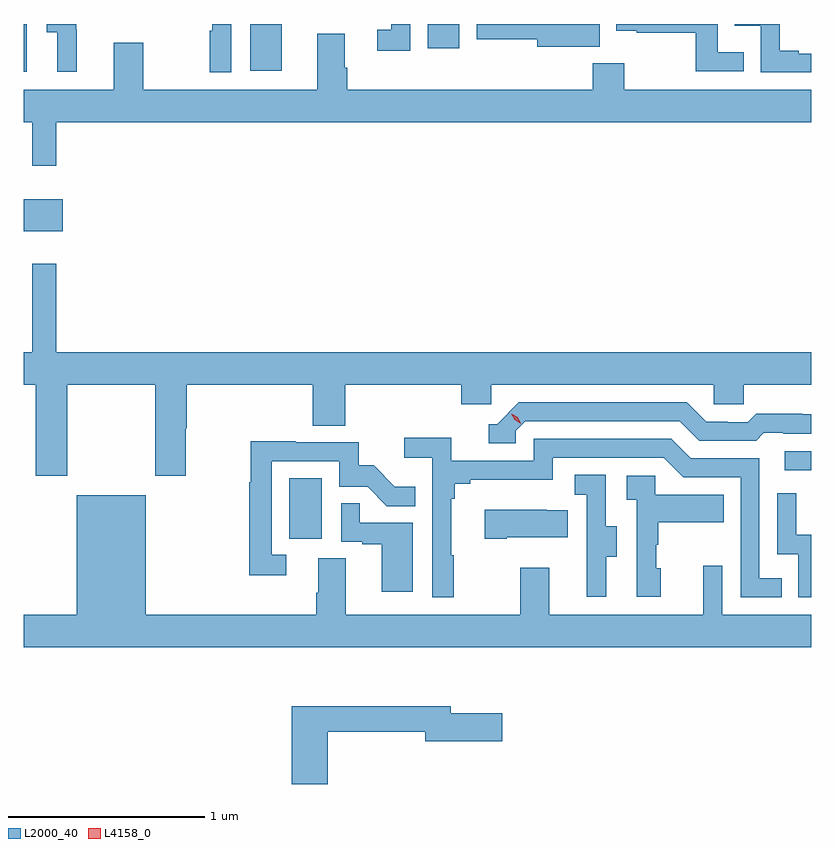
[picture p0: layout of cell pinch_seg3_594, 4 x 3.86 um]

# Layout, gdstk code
import gdstk
lib = gdstk.Library(unit=1e-6, precision=1e-09)
def R(c, l, rs):  # rectangles x0, y0, x1, y1
    for r in rs: c.add(gdstk.rectangle(r[:2], r[2:], *l))
def P(c, l, *ps):  # polygons
    for p in ps: c.add(gdstk.Polygon(p, *l))
L2000_40 = (2000, 40)
L4158_0 = (4158, 0)

pinch_seg3_594 = lib.new_cell('pinch_seg3_594')
R(pinch_seg3_594, L2000_40, [(1071.08,694.806,1071.244,695.113), (1073.595,695.154,1073.73,695.25), (1069.73,696.368,1069.93,696.529), (1069.73,697.176,1069.746,697.419), (1070.882,697.182,1071.04,697.419), (1071.782,697.296,1071.943,697.419)])
P(pinch_seg3_594, L2000_40, [(1071.693,697.419),(1071.597,697.419),(1071.597,697.389),(1071.525,697.389),(1071.525,697.284),(1071.693,697.284)],
  [(1070.784,697.419),(1070.687,697.419),(1070.687,697.385),(1070.676,697.385),(1070.676,697.173),(1070.784,697.173)],
  [(1070,697.389),(1069.998,697.389),(1069.998,697.419),(1069.847,697.419),(1069.847,697.378),(1069.901,697.378),(1069.901,697.176),(1070,697.176)],
  [(1073.387,697.276),(1073.253,697.276),(1073.253,697.419),(1072.74,697.419),(1072.74,697.385),(1072.843,697.385),(1072.843,697.374),(1073.142,697.374),(1073.142,697.179),(1073.387,697.179)],
  [(1073.73,697.269),(1073.665,697.269),(1073.665,697.282),(1073.569,697.282),(1073.569,697.419),(1073.34,697.419),(1073.34,697.409),(1073.472,697.409),(1073.472,697.173),(1073.73,697.173)],
  [(1072.655,697.419),(1072.032,697.419),(1072.032,697.342),(1072.337,697.342),(1072.337,697.304),(1072.655,697.304)],
  [(1069.897,696.92),(1073.73,696.92),(1073.73,697.084),(1072.779,697.084),(1072.779,697.219),(1072.619,697.219),(1072.619,697.084),(1071.374,697.084),(1071.374,697.196),(1071.361,697.196),(1071.361,697.37),(1071.221,697.37),(1071.221,697.084),(1070.337,697.084),(1070.337,697.324),(1070.189,697.324),(1070.189,697.084),(1069.73,697.084),(1069.73,696.92),(1069.775,696.92),(1069.775,696.699),(1069.897,696.699)],
  [(1069.953,695.588),(1070.398,695.588),(1070.398,695.127),(1070.553,695.127),(1070.553,695.366),(1070.558,695.366),(1070.558,695.588),(1071.197,695.588),(1071.197,695.38),(1071.362,695.38),(1071.362,695.588),(1071.953,695.588),(1071.953,695.49),(1072.104,695.49),(1072.104,695.588),(1073.235,695.588),(1073.235,695.49),(1073.385,695.49),(1073.385,695.588),(1073.73,695.588),(1073.73,695.752),(1069.897,695.752),(1069.897,696.202),(1069.775,696.202),(1069.775,695.752),(1069.73,695.752),(1069.73,695.588),(1069.793,695.588),(1069.793,695.127),(1069.953,695.127)],
  [(1072.23,695.355),(1072.278,695.403),(1073.061,695.403),(1073.16,695.304),(1073.449,695.304),(1073.488,695.343),(1073.587,695.343),(1073.587,695.34),(1073.73,695.34),(1073.73,695.437),(1073.682,695.437),(1073.682,695.44),(1073.449,695.44),(1073.407,695.397),(1073.304,695.397),(1073.304,695.4),(1073.197,695.4),(1073.098,695.499),(1072.245,695.499),(1072.134,695.388),(1072.091,695.388),(1072.091,695.292),(1072.23,695.292)],
  [(1071.913,694.721),(1071.901,694.721),(1071.901,695.009),(1071.92,695.009),(1071.92,695.086),(1071.997,695.086),(1071.997,695.105),(1072.416,695.105),(1072.416,695.217),(1072.98,695.217),(1073.079,695.118),(1073.37,695.118),(1073.37,694.509),(1073.579,694.509),(1073.579,694.605),(1073.466,694.605),(1073.466,695.214),(1073.116,695.214),(1073.017,695.313),(1072.32,695.313),(1072.32,695.202),(1071.902,695.202),(1071.902,695.318),(1071.663,695.318),(1071.663,695.216),(1071.804,695.216),(1071.804,694.509),(1071.913,694.509)],
  [(1071.064,694.725),(1070.991,694.725),(1070.991,695.199),(1071.333,695.199),(1071.333,695.07),(1071.477,695.07),(1071.575,694.972),(1071.719,694.972),(1071.719,695.071),(1071.615,695.071),(1071.508,695.178),(1071.432,695.178),(1071.432,695.295),(1071.113,695.295),(1071.113,695.3),(1070.883,695.3),(1070.883,695.092),(1070.875,695.092),(1070.875,694.62),(1071.064,694.62)],
  [(1072.687,694.714),(1072.741,694.714),(1072.741,694.869),(1072.686,694.869),(1072.686,695.132),(1072.527,695.132),(1072.527,695.029),(1072.59,695.029),(1072.59,694.725),(1072.589,694.725),(1072.589,694.512),(1072.687,694.512)],
  [(1072.966,694.656),(1072.941,694.656),(1072.941,694.775),(1072.951,694.775),(1072.951,694.889),(1073.285,694.889),(1073.285,695.029),(1072.938,695.029),(1072.938,695.127),(1072.791,695.127),(1072.791,695.003),(1072.842,695.003),(1072.842,694.512),(1072.966,694.512)],
  [(1073.73,694.826),(1073.652,694.826),(1073.652,695.038),(1073.556,695.038),(1073.556,694.728),(1073.664,694.728),(1073.664,694.509),(1073.73,694.509)],
  [(1073.73,694.42),(1073.277,694.42),(1073.277,694.669),(1073.18,694.669),(1073.18,694.42),(1072.399,694.42),(1072.399,694.66),(1072.252,694.66),(1072.252,694.42),(1071.367,694.42),(1071.367,694.706),(1071.227,694.706),(1071.227,694.532),(1071.215,694.532),(1071.215,694.42),(1070.35,694.42),(1070.35,695.026),(1070,695.026),(1070,694.42),(1069.73,694.42),(1069.73,694.256),(1073.73,694.256)],
  [(1071.706,694.887),(1071.437,694.887),(1071.437,694.985),(1071.342,694.985),(1071.342,694.791),(1071.449,694.791),(1071.449,694.779),(1071.548,694.779),(1071.548,694.536),(1071.706,694.536)],
  [(1072.183,694.814),(1072.493,694.814),(1072.493,694.951),(1072.385,694.951),(1072.385,694.954),(1072.071,694.954),(1072.071,694.807),(1072.183,694.807)],
  [(1071.275,693.826),(1071.77,693.826),(1071.77,693.779),(1072.159,693.779),(1072.159,693.921),(1071.898,693.921),(1071.898,693.955),(1071.092,693.955),(1071.092,693.561),(1071.275,693.561)])
P(pinch_seg3_594, L4158_0, [(1072.254,695.389),(1072.224,695.409),(1072.207,695.441),(1072.207,695.441),(1072.207,695.441),(1072.238,695.422),(1072.255,695.39),(1072.255,695.389)])

lib.write_gds('pinch_seg3_594.gds')
